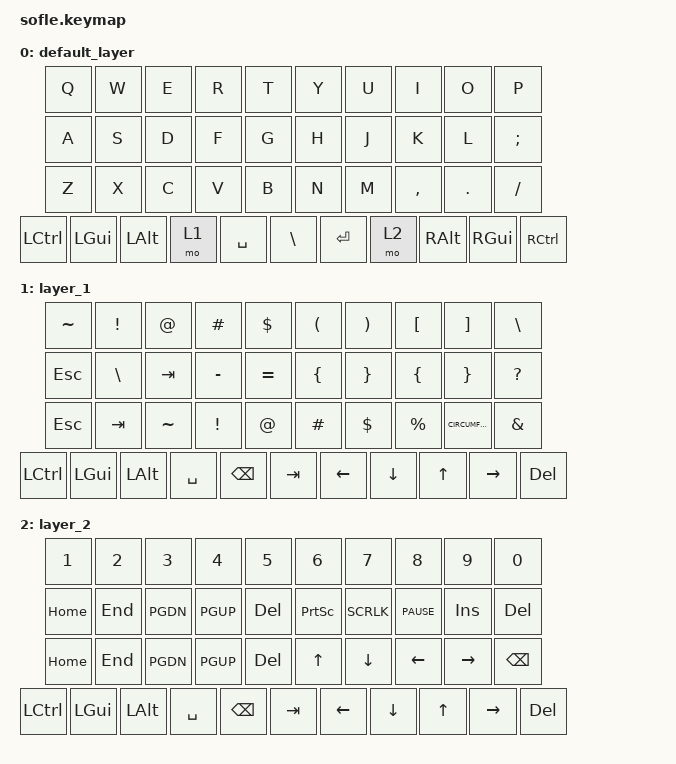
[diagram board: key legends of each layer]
/*
 * Copyright (c) 2020 The ZMK Contributors
 *
 * SPDX-License-Identifier: MIT
 */

#include <behaviors.dtsi>
#include <dt-bindings/zmk/keys.h>
#include <dt-bindings/zmk/bt.h>

/ {
    keymap {
        compatible = "zmk,keymap";

        default_layer {
            bindings = <
&kp Q  &kp W  &kp E  &kp R  &kp T                      &kp Y  &kp U  &kp I  &kp O  &kp P
&kp A  &kp S  &kp D  &kp F  &kp G                      &kp H  &kp J  &kp K  &kp L  &kp SEMI
&kp Z  &kp X  &kp C  &kp V  &kp B                      &kp N  &kp M  &kp COMMA  &kp DOT  &kp FSLH
&kp LCTL  &kp LGUI  &kp LALT &mo 1  &kp SPACE  &kp BSLH &kp RET &mo 2 &kp RALT &kp RGUI &kp RCTRL
            >;
        };

        layer_1 {
            bindings = <
&kp TILDE  &kp EXCL  &kp AT  &kp HASH  &kp DLLR               &kp LPAR  &kp RPAR  &kp LBKT  &kp RBKT  &kp BSLH
&kp ESC  &kp BSLH  &kp TAB  &kp MINUS  &kp EQUAL               &kp LBRC  &kp RBRC  &kp LBRC  &kp RBRC  &kp QMARK
&kp ESC  &kp TAB  &kp TILDE  &kp EXCL  &kp AT               &kp HASH  &kp DOLLAR  &kp PRCNT  &kp CIRCUMFLEX  &kp AMPERSAND
&kp LCTL &kp LGUI &kp LALT &kp SPACE &kp BSPC &kp TAB &kp LEFT &kp DOWN &kp UP &kp RIGHT &kp DEL
            >;
        };
    
        layer_2 {
            bindings = <
&kp N1  &kp N2  &kp N3  &kp N4  &kp N5               &kp N6  &kp N7  &kp N8  &kp N9  &kp N0
&kp HOME  &kp END  &kp PGDN  &kp PGUP  &kp DEL           &kp PSCRN  &kp SCRLK  &kp PAUSE  &kp INS  &kp DEL
&kp HOME  &kp END  &kp PGDN  &kp PGUP  &kp DEL           &kp UP  &kp DOWN  &kp LEFT  &kp RIGHT  &kp BSPC
&kp LCTL &kp LGUI &kp LALT &kp SPACE &kp BSPC &kp TAB &kp LEFT &kp DOWN &kp UP &kp RIGHT &kp DEL
            >;
        };
    };
};
